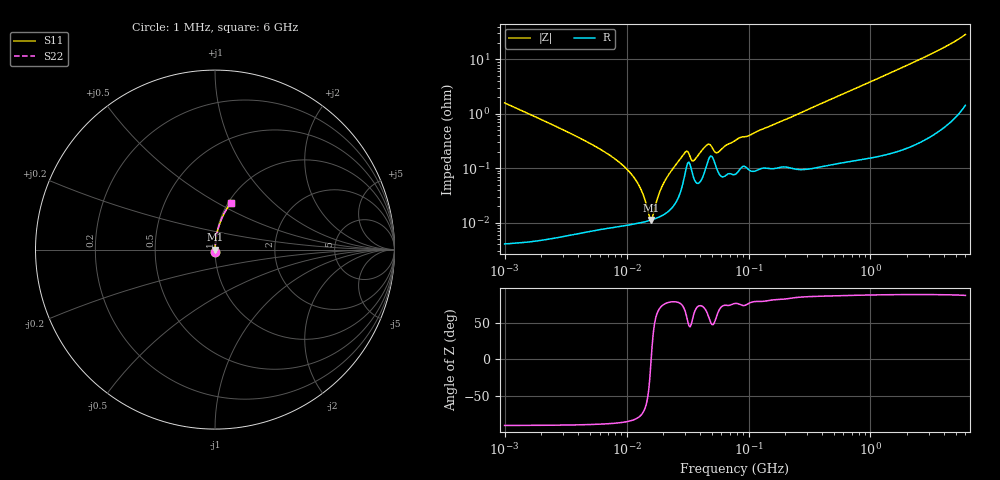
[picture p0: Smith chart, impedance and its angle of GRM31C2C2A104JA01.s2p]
!Murata Part Number: GRM31C2C2A104JA01
!These Parameters are Measured in Series Mode Connection
!Data Generated on Mar 30, 2021
!  o--ll--o
!Port1  Port2
!  o------o
!Operation Temp=25[degC], DC Bias Voltage=0[V]
!Freq. Start=1000[kHz] Stop=6[GHz] 401[Steps]
# Hz S RI R 50
!Freq.(Hz) S11(Real) S11(Imag) S21(Real) S21(Imag) S12(Real) S12(Imag) S22(Real) S22(Imag)
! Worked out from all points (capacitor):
!   401 points, 1 MHz to 6 GHz, reference 50 ohm
!   read as one part in series: C = 100 nF near 1.044 MHz
!   lowest |Z| = 11.1 mohm at 15.83 MHz (marker M1)
!   series resonance near 15.91 MHz, so ESL is about 1 nH
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1000000  0.000291 -0.0158  0.9997 0.0158  0.9997 0.0158  0.000291 -0.0158
4293785  7.61e-05 -0.00342  0.9999 0.00342  0.9999 0.00342  7.61e-05 -0.00342
7395623  8.26e-05 -0.00169  0.9999 0.00169  0.9999 0.00169  8.26e-05 -0.00169
1.047372e7  9.11e-05 -0.000867  0.9999 0.000867  0.9999 0.000867  9.11e-05 -0.000867
1.301831e7  9.92e-05 -0.000411  0.9999 0.000411  0.9999 0.000411  9.92e-05 -0.000411
1.389603e7  0.000102 -0.000278  0.9999 0.000278  0.9999 0.000278  0.000102 -0.000278
1.515906e7  0.000108 -9.97e-05  0.9999 9.97e-05  0.9999 9.97e-05  0.000108 -9.97e-05
1.583299e7  0.000111 -1.01e-05  0.9999 1.01e-05  0.9999 1.01e-05  0.000111 -1.01e-05
1.653689e7  0.000114 8.02e-05  0.9999 -8.02e-05  0.9999 -8.02e-05  0.000114 8.02e-05
1.843659e7  0.000126 0.000312  0.9999 -0.000312  0.9999 -0.000312  0.000126 0.000312
2.194036e7  0.00016 0.000719  0.9998 -0.000719  0.9998 -0.000719  0.00016 0.000719
3.040356e7  0.000864 0.00179  0.9991 -0.00179  0.9991 -0.00179  0.000864 0.00179
3.175522e7  0.00125 0.00158  0.9987 -0.00158  0.9987 -0.00158  0.00125 0.00158
3.540316e7  0.000676 0.00118  0.9993 -0.00118  0.9993 -0.00118  0.000676 0.00118
4.596069e7  0.00124 0.0024  0.9988 -0.0024  0.9988 -0.0024  0.00124 0.0024
4.800399e7  0.0016 0.00221  0.9984 -0.00221  0.9984 -0.00221  0.0016 0.00221
5.589783e7  0.000885 0.00173  0.9991 -0.00173  0.9991 -0.00173  0.000885 0.00173
7.745967e7  0.000775 0.00312  0.9992 -0.00312  0.9992 -0.00312  0.000775 0.00312
3.325952e8  0.00115 0.0129  0.9988 -0.0129  0.9988 -0.0129  0.00115 0.0129
1.428092e9  0.00486 0.055  0.9951 -0.055  0.9951 -0.055  0.00486 0.055
3.335232e9  0.0217 0.1309  0.9783 -0.1309  0.9783 -0.1309  0.0217 0.1309
6e9  0.0871 0.258  0.9129 -0.258  0.9129 -0.258  0.0871 0.258
